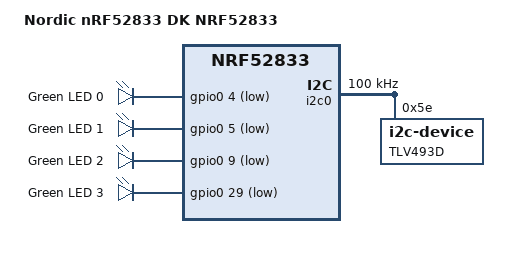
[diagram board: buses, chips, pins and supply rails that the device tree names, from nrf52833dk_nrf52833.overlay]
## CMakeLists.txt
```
cmake_minimum_required(VERSION 3.20.0)
find_package(Zephyr REQUIRED HINTS $ENV{ZEPHYR_BASE})

project(Magnetometer)

target_sources(app PRIVATE src/main.c)
```

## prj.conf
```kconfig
CONFIG_SENSOR=y
CONFIG_I2C=y
CONFIG_CBPRINTF_FP_SUPPORT=y
```

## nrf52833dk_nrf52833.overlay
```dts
&i2c0 {
    compatible = "nordic,nrf-twim";
    status = "okay";
    clock-frequency = <I2C_BITRATE_STANDARD>;
    
    mysensor: mysensor@5e {
        status = "okay";
        compatible = "i2c-device";
        reg = <0x5e>;
        label = "TLV493D";

    };
};
/* for node */

/ {
	model = "Nordic nRF52833 DK NRF52833";
    compatible = "nordic,nrf52833-dk-nrf52833";

	chosen {
		zephyr,console = &uart0;
		zephyr,shell-uart = &uart0;
		zephyr,uart-mcumgr = &uart0;
		zephyr,bt-mon-uart = &uart0;
		zephyr,bt-c2h-uart = &uart0;
		zephyr,sram = &sram0;
		zephyr,flash = &flash0;
		zephyr,code-partition = &slot0_partition;
	};

	leds {
		compatible = "gpio-leds";
		led0: led_0 {
			gpios = <&gpio0 4 GPIO_ACTIVE_LOW>;
			label = "Green LED 0";
		};
		led1: led_1 {
			gpios = <&gpio0 5 GPIO_ACTIVE_LOW>;
			label = "Green LED 1";
		};
		led2: led_2 {
			gpios = <&gpio0 9 GPIO_ACTIVE_LOW>;
			label = "Green LED 2";
		};
		led3: led_3 {
			gpios = <&gpio0 29 GPIO_ACTIVE_LOW>;
			label = "Green LED 3";
		};
	};
};
&pinctrl {
	uart0_default: uart0_default {
		group1 {
			psels = <NRF_PSEL(UART_TX, 0, 29)>, //6   for nrf52dk5832 / 5840
				<NRF_PSEL(UART_RX, 0, 28)>,   //8	  for nrf52dk5832
				<NRF_PSEL(UART_RTS, 0, 5)>,
				<NRF_PSEL(UART_CTS, 0, 7)>;
		};
	};

	uart0_sleep: uart0_sleep {
		group1 {
			psels = <NRF_PSEL(UART_TX, 0, 29)>,    //6
				<NRF_PSEL(UART_RX, 0, 28)>,        //8
				<NRF_PSEL(UART_RTS, 0, 5)>,
				<NRF_PSEL(UART_CTS, 0, 7)>;
			low-power-enable;
		};
	};
	i2c0_default: i2c0_default {
		group1 {
			psels = <NRF_PSEL(TWIM_SDA, 0, 2)>,  
				<NRF_PSEL(TWIM_SCL, 0, 3)>;      
		};
	};

	i2c0_sleep: i2c0_sleep {
		group1 {
			psels = <NRF_PSEL(TWIM_SDA, 0, 2)>,   
				<NRF_PSEL(TWIM_SCL, 0, 3)>;        
			low-power-enable;
		};
	};
};
```

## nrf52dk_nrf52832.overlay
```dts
&i2c0 {
    compatible = "nordic,nrf-twim";
    status = "okay";
    clock-frequency = <I2C_BITRATE_STANDARD>;
    
    mysensor: mysensor@5e {
        status = "okay";
        compatible = "i2c-device";
        reg = <0x5e>;
        label = "TLV493D";

    };
};
```

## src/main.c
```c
#include <zephyr/zephyr.h>      // Zephyr core header
#include <zephyr/device.h>      // Device structure header
#include <zephyr/devicetree.h>  // Device tree macros
#include <zephyr/drivers/i2c.h> // I2C driver API
#include <zephyr/sys/printk.h>  // Printk for console output
#include <stdio.h>              // Standard IO functions

#define SLEEP_TIME_MS 500 // 1 second sleep time
#define I2C_NODE DT_NODELABEL(mysensor) // The I2C node label for the sensor
#define TLV493D_I2C_ADDR 0x5E // Adjust based on actual sensor wiring

// Function to configure TLV493D to active mode
static int tlv493d_set_active_mode(const struct i2c_dt_spec *i2c_spec) {
    // Send the appropriate command to configure the sensor to active mode
    uint8_t config_command[] = {0x00}; // Replace with correct bytes from the datasheet
    int ret = i2c_write_dt(i2c_spec, config_command, sizeof(config_command));
    if (ret) {
        printk("Failed to configure TLV493D to active mode. Error: %d\n", ret);
        return ret;
    }
    return 0;
}

// Function to read magnetic field data
static int read_magnetic_field(const struct i2c_dt_spec *i2c_spec, float *x, float *y, float *z) {
    uint8_t read_command[] = {0x11}; // Replace with the correct register address for XYZ data
    uint8_t mag_data[7]; // Read 7 bytes from the sensor to cover X, Y, Z, and temperature

    // Read 7 bytes of magnetic data
    int ret = i2c_write_read_dt(i2c_spec, read_command, sizeof(read_command), mag_data, sizeof(mag_data));
    if (ret) {
        printk("Failed to read magnetic data. Error: %d\n", ret);
        return ret;
    }

    // Raw data extraction; adjust based on sensor output format
    int16_t raw_x = (int16_t)(((uint16_t)mag_data[0] << 8) | (mag_data[1] & 0xF8)) >> 3;
    int16_t raw_y = (int16_t)(((uint16_t)mag_data[2] << 8) | (mag_data[3] & 0xF8)) >> 3;
    int16_t raw_z = (int16_t)(((uint16_t)mag_data[4] << 8) | (mag_data[5] & 0xF8)) >> 3;

    printk("Raw data: %02x %02x %02x %02x %02x %02x\n",
        mag_data[0], mag_data[1], mag_data[2], mag_data[3], mag_data[4], mag_data[5]);

    // Assuming a conversion factor (check datasheet for precise values)
    *x = raw_x * 0.098f; // Example conversion, adjust as needed
    *y = raw_y * 0.098f;
    *z = raw_z * 0.098f;

    return 0;
}

void main(void) {
    int ret;
    float x = 0.0, y = 0.0, z = 0.0;

    static const struct i2c_dt_spec dev_i2c = I2C_DT_SPEC_GET(I2C_NODE);

    // Check if the I2C bus is ready
    if (!device_is_ready(dev_i2c.bus)) {
        printk("I2C bus %s is not ready!\n", dev_i2c.bus->name);
        return;
    }

    // Set the sensor to active mode
    ret = tlv493d_set_active_mode(&dev_i2c);
    if (ret != 0) {
        return;
    }

    k_msleep(100); // Allow sensor time to stabilize

    while (1) {
        // Read the magnetic field data
        ret = read_magnetic_field(&dev_i2c, &x, &y, &z);
        if (ret != 0) {
            printk("Magnetic field measurement failed! Error: %d\n", ret);
            k_msleep(SLEEP_TIME_MS);
            continue;
        }

        // Print magnetic field values
        printk("Magnetic Field (µT) - X: %.2f, Y: %.2f, Z: %.2f\n", x, y, z);

        k_msleep(SLEEP_TIME_MS);
    }
}
```
